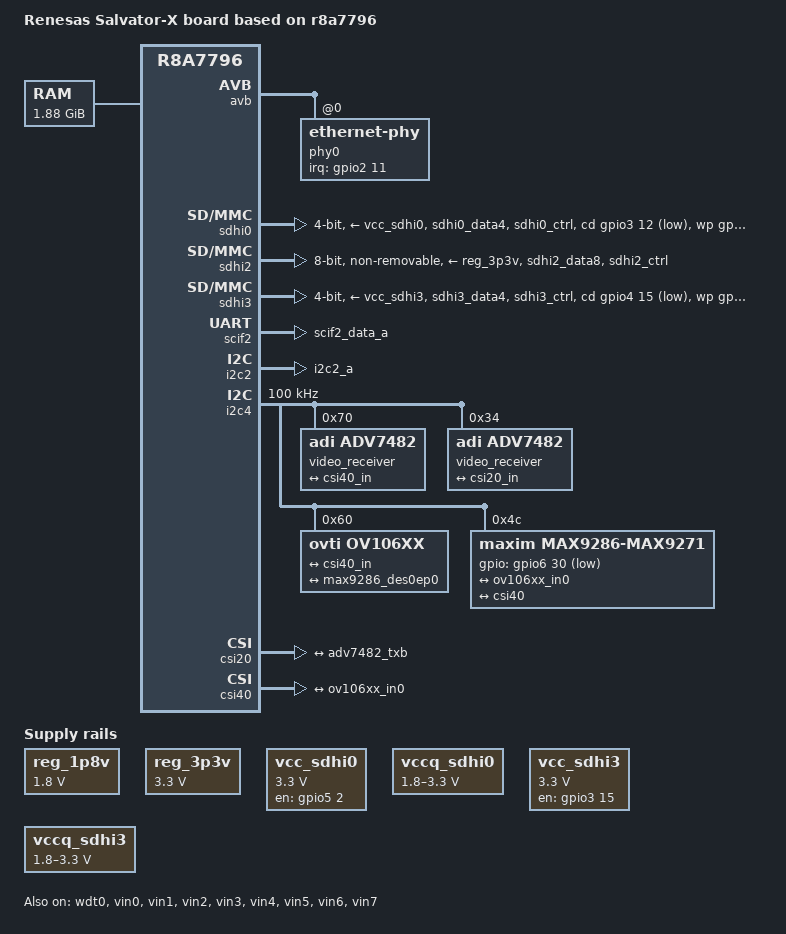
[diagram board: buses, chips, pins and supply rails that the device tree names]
/*
 * Device Tree Source for the Salvator-X board
 *
 * Copyright (C) 2016 Renesas Electronics Corp.
 *
 * This file is licensed under the terms of the GNU General Public License
 * version 2.  This program is licensed "as is" without any warranty of any
 * kind, whether express or implied.
 */

/dts-v1/;
#include "r8a7796.dtsi"
#include <dt-bindings/gpio/gpio.h>

/ {
	model = "Renesas Salvator-X board based on r8a7796";
	compatible = "renesas,salvator-x", "renesas,r8a7796";

	aliases {
		serial0 = &scif2;
		ethernet0 = &avb;
	};

	chosen {
		bootargs = "ignore_loglevel rw root=/dev/nfs cma=64M ip=dhcp";
		stdout-path = "serial0:115200n8";
	};

	memory@48000000 {
		device_type = "memory";
		/* first 128MB is reserved for secure area. */
		reg = <0x0 0x48000000 0x0 0x78000000>;
	};

	reg_1p8v: regulator0 {
		compatible = "regulator-fixed";
		regulator-name = "fixed-1.8V";
		regulator-min-microvolt = <1800000>;
		regulator-max-microvolt = <1800000>;
		regulator-boot-on;
		regulator-always-on;
	};

	reg_3p3v: regulator1 {
		compatible = "regulator-fixed";
		regulator-name = "fixed-3.3V";
		regulator-min-microvolt = <3300000>;
		regulator-max-microvolt = <3300000>;
		regulator-boot-on;
		regulator-always-on;
	};

	vcc_sdhi0: regulator-vcc-sdhi0 {
		compatible = "regulator-fixed";

		regulator-name = "SDHI0 Vcc";
		regulator-min-microvolt = <3300000>;
		regulator-max-microvolt = <3300000>;

		gpio = <&gpio5 2 GPIO_ACTIVE_HIGH>;
		enable-active-high;
	};

	vccq_sdhi0: regulator-vccq-sdhi0 {
		compatible = "regulator-gpio";

		regulator-name = "SDHI0 VccQ";
		regulator-min-microvolt = <1800000>;
		regulator-max-microvolt = <3300000>;

		gpios = <&gpio5 1 GPIO_ACTIVE_HIGH>;
		gpios-states = <1>;
		states = <3300000 1
			  1800000 0>;
	};

	vcc_sdhi3: regulator-vcc-sdhi3 {
		compatible = "regulator-fixed";

		regulator-name = "SDHI3 Vcc";
		regulator-min-microvolt = <3300000>;
		regulator-max-microvolt = <3300000>;

		gpio = <&gpio3 15 GPIO_ACTIVE_HIGH>;
		enable-active-high;
	};

	vccq_sdhi3: regulator-vccq-sdhi3 {
		compatible = "regulator-gpio";

		regulator-name = "SDHI3 VccQ";
		regulator-min-microvolt = <1800000>;
		regulator-max-microvolt = <3300000>;

		gpios = <&gpio3 14 GPIO_ACTIVE_HIGH>;
		gpios-states = <1>;
		states = <3300000 1
			  1800000 0>;
	};
};

&pfc {
	pinctrl-0 = <&scif_clk_pins>;
	pinctrl-names = "default";

	scif2_pins: scif2 {
		groups = "scif2_data_a";
		function = "scif2";
	};
	scif_clk_pins: scif_clk {
		groups = "scif_clk_a";
		function = "scif_clk";
	};

	i2c2_pins: i2c2 {
		groups = "i2c2_a";
		function = "i2c2";
	};

	sdhi0_pins: sd0 {
		groups = "sdhi0_data4", "sdhi0_ctrl";
		function = "sdhi0";
		power-source = <3300>;
	};

	sdhi0_pins_uhs: sd0_uhs {
		groups = "sdhi0_data4", "sdhi0_ctrl";
		function = "sdhi0";
		power-source = <1800>;
	};

	sdhi2_pins: sd2 {
		groups = "sdhi2_data8", "sdhi2_ctrl";
		function = "sdhi2";
		power-source = <3300>;
	};

	sdhi2_pins_uhs: sd2_uhs {
		groups = "sdhi2_data8", "sdhi2_ctrl";
		function = "sdhi2";
		power-source = <1800>;
	};

	sdhi3_pins: sd3 {
		groups = "sdhi3_data4", "sdhi3_ctrl";
		function = "sdhi3";
		power-source = <3300>;
	};

	sdhi3_pins_uhs: sd3_uhs {
		groups = "sdhi3_data4", "sdhi3_ctrl";
		function = "sdhi3";
		power-source = <1800>;
	};
};

&avb {
	renesas,no-ether-link;
	phy-handle = <&phy0>;
	status = "okay";

	phy0: ethernet-phy@0 {
		rxc-skew-ps = <900>;
		rxdv-skew-ps = <0>;
		rxd0-skew-ps = <0>;
		rxd1-skew-ps = <0>;
		rxd2-skew-ps = <0>;
		rxd3-skew-ps = <0>;
		txc-skew-ps = <900>;
		txen-skew-ps = <0>;
		txd0-skew-ps = <0>;
		txd1-skew-ps = <0>;
		txd2-skew-ps = <0>;
		txd3-skew-ps = <0>;
		reg = <0>;
		interrupt-parent = <&gpio2>;
		interrupts = <11 IRQ_TYPE_LEVEL_LOW>;
	};
};

&extal_clk {
	clock-frequency = <16666666>;
};

&extalr_clk {
	clock-frequency = <32768>;
};

&sdhi0 {
	pinctrl-0 = <&sdhi0_pins>;
	pinctrl-1 = <&sdhi0_pins_uhs>;
	pinctrl-names = "default", "state_uhs";

	vmmc-supply = <&vcc_sdhi0>;
	vqmmc-supply = <&vccq_sdhi0>;
	cd-gpios = <&gpio3 12 GPIO_ACTIVE_LOW>;
	wp-gpios = <&gpio3 13 GPIO_ACTIVE_HIGH>;
	bus-width = <4>;
	sd-uhs-sdr50;
	status = "okay";
};

&sdhi2 {
	/* used for on-board 8bit eMMC */
	pinctrl-0 = <&sdhi2_pins>;
	pinctrl-1 = <&sdhi2_pins_uhs>;
	pinctrl-names = "default", "state_uhs";

	vmmc-supply = <&reg_3p3v>;
	vqmmc-supply = <&reg_1p8v>;
	bus-width = <8>;
	non-removable;
	status = "okay";
};

&sdhi3 {
	pinctrl-0 = <&sdhi3_pins>;
	pinctrl-1 = <&sdhi3_pins_uhs>;
	pinctrl-names = "default", "state_uhs";

	vmmc-supply = <&vcc_sdhi3>;
	vqmmc-supply = <&vccq_sdhi3>;
	cd-gpios = <&gpio4 15 GPIO_ACTIVE_LOW>;
	wp-gpios = <&gpio4 16 GPIO_ACTIVE_HIGH>;
	bus-width = <4>;
	sd-uhs-sdr50;
	status = "okay";
};

&scif2 {
	pinctrl-0 = <&scif2_pins>;
	pinctrl-names = "default";
	status = "okay";
};

&scif_clk {
	clock-frequency = <14745600>;
	status = "okay";
};

&i2c2 {
	pinctrl-0 = <&i2c2_pins>;
	pinctrl-names = "default";

	status = "okay";
};

&wdt0 {
	timeout-sec = <60>;
	status = "okay";
};

&i2c4 {
	status = "okay";

	clock-frequency = <100000>;

	video_receiver@70 {
		compatible = "adi,adv7482";
		reg = <0x70>;

		#address-cells = <1>;
		#size-cells = <0>;

		port@10 {
			reg = <10>;
			adv7482_txa: endpoint@1 {
				clock-lanes = <0>;
				data-lanes = <1 2 3 4>;
				remote-endpoint = <&csi40_in>;
			};
		};
	};

	/*
	   This is a HACK and is in reality the same dev as 0x70
	   But due to V4L2 limitations we need it to be two subdevices
	   to test VIN + CSI2. There will be two instances of the
	   ADV7482 driver controlling the same chip, but *most* parts
	   are independent of the other and i2c is used in a bad way
	   so it sort of works to test.
	*/
	video_receiver@34 {
		compatible = "adi,adv7482";
		reg = <0x34>;

		#address-cells = <1>;
		#size-cells = <0>;

		port@11 {
			reg = <11>;
			adv7482_txb: endpoint@1 {
				clock-lanes = <0>;
				data-lanes = <1>;
				remote-endpoint = <&csi20_in>;
			};
		};
	};

	ov106xx@0 {
		compatible = "ovti,ov106xx";
		reg = <0x60>;

		port@0 {
			ov106xx_in0: endpoint {
				clock-lanes = <0>;
				data-lanes = <1 2 3 4>;
				remote-endpoint = <&csi40_in>;
			};
		};
		port@1 {
			ov106xx_max9286_des0ep0: endpoint@0 {
				remote-endpoint = <&max9286_des0ep0>;
			};
		};
	};

	max9286-max9271@0 {
		compatible = "maxim,max9286-max9271";
		reg = <0x4c>;
		gpios = <&gpio6 30 GPIO_ACTIVE_LOW>;
		maxim,sensor_delay = <0>;
		maxim,links = <4>;
		maxim,lanes = <4>;
		maxim,resetb-gpio = <1>;
		maxim,fsync-mode = "automatic";
		maxim,timeout = <100>;
		maxim,i2c-quirk = <0x6c>;

		port@0 {
			max9286_des0ep0: endpoint@0 {
				max9271-addr = <0x50>;
				dvp-order = <1>;
				remote-endpoint = <&ov106xx_in0>;
			};
/*			max9286_des0ep1: endpoint@1 {
				max9271-addr = <0x51>;
				dvp-order = <1>;
				remote-endpoint = <&ov106xx_in1>;
			};
			max9286_des0ep2: endpoint@2 {
				max9271-addr = <0x52>;
				dvp-order = <1>;
				remote-endpoint = <&ov106xx_in2>;
			};
			max9286_des0ep3: endpoint@3 {
				max9271-addr = <0x53>;
				dvp-order = <1>;
				remote-endpoint = <&ov106xx_in3>;
			}; */
		};
		port@1 {
			max9286_csi0ep0: endpoint {
				csi-rate = <700>;
				remote-endpoint = <&csi40>;
			};
		};
	};


};

&vin0 {
	status = "okay";
};

&vin1 {
	status = "okay";
};

&vin2 {
	status = "okay";
};

&vin3 {
	status = "okay";
};

&vin4 {
	status = "okay";
};

&vin5 {
	status = "okay";
};

&vin6 {
	status = "okay";
};

&vin7 {
	status = "okay";
};

&csi20 {
	status = "okay";

	ports {
		#address-cells = <1>;
		#size-cells = <0>;

		port@0 {
			reg = <0>;
			csi20_in: endpoint@0 {
				clock-lanes = <0>;
				data-lanes = <1>;
				csi-rate = <300>;
				remote-endpoint = <&adv7482_txb>;
			};
		};
	};
};

&csi40 {
	status = "okay";

	ports {
		#address-cells = <1>;
		#size-cells = <0>;

		port@0 {
			reg = <0>;

			csi40_in: endpoint@0 {
				clock-lanes = <0>;
				virtual,channel = <3>;
				data-lanes = <1 2 3 4>;
				csi-rate = <300>;
				remote-endpoint = <&ov106xx_in0>;
			};
		};
	};
};
